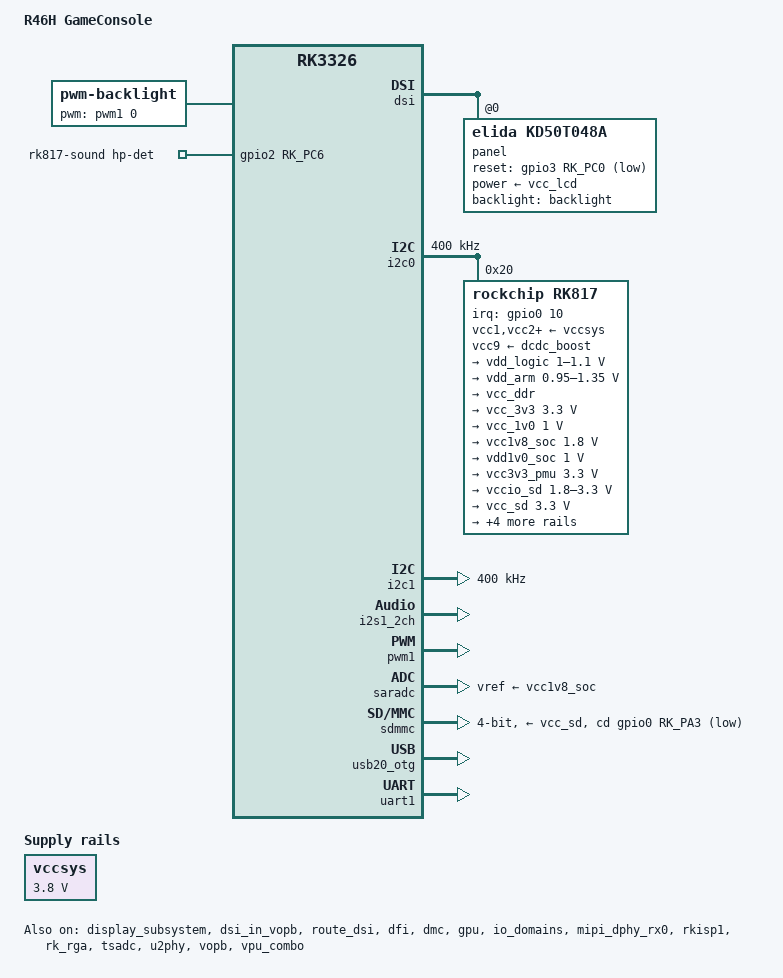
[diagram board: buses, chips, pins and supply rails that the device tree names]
/*
 * (C) Copyright 2019 Hardkernel Co., Ltd
 *
 * SPDX-License-Identifier:     GPL-2.0+
 */

/dts-v1/;
#include <dt-bindings/display/drm_mipi_dsi.h>
#include <dt-bindings/gpio/gpio.h>
#include <dt-bindings/input/input.h>
#include <dt-bindings/pinctrl/rockchip.h>
#include "px30.dtsi"
#include "rk3326.dtsi"
#include "rk3326-linux.dtsi"

/ {
	model = "R46H GameConsole";
	compatible = "rockchip,rk3326-r46h-linux", "rockchip,rk3326";

	chosen {
                bootargs = "";
	};

	fiq-debugger {
		compatible = "rockchip,fiq-debugger";
		rockchip,serial-id = <2>;
		rockchip,wake-irq = <0>;
		/* If enable uart uses irq instead of fiq */
		rockchip,irq-mode-enable = <0>;
		rockchip,baudrate = <115200>;  /* Only 115200 and 1500000 */
		interrupts = <GIC_SPI 127 IRQ_TYPE_LEVEL_LOW>;
		pinctrl-names = "default";
		pinctrl-0 = <&uart2m1_xfer>;
		status = "okay";
	};

	//leds: gpio_leds {
	//	compatible = "gpio-leds";
	//	status = "okay";
	//
	//	/* Blue LED : GPIO0_C1 */
	//	heartbeat {
	//		label = "blue:heartbeat";
	//		gpios = <&gpio0 RK_PC1 GPIO_ACTIVE_HIGH>;
	//		default-state = "off";
	//	};
	//
	//	battery {
	//		label = "battery_low";
	//		gpios = <&gpio2 RK_PB5 GPIO_ACTIVE_LOW>;
	//		default-state = "on";
	//	};
	//};

	backlight: backlight {
		compatible = "pwm-backlight";
		pwms = <&pwm1 0 40000 0>;
		brightness-levels = <
			  0   1   2   3   4   5   6   7
			  8   9  10  11  12  13  14  15
			 16  17  18  19  20  21  22  23
			 24  25  26  27  28  29  30  31
			 32  33  34  35  36  37  38  39
			 40  41  42  43  44  45  46  47
			 48  49  50  51  52  53  54  55
			 56  57  58  59  60  61  62  63
			 64  65  66  67  68  69  70  71
			 72  73  74  75  76  77  78  79
			 80  81  82  83  84  85  86  87
			 88  89  90  91  92  93  94  95
			 96  97  98  99 100>;
		default-brightness-level = <50>;
	};

	rk817-sound {
		compatible = "simple-audio-card";
		simple-audio-card,format = "i2s";
		simple-audio-card,name = "rockchip,rk817-codec";
		simple-audio-card,mclk-fs = <256>;
		simple-audio-card,widgets =
			"Microphone", "Mic Jack",
			"Headphone", "Headphone Jack";
		simple-audio-card,routing =
			"MIC_IN", "Mic Jack",
			/*"IN1P", "Mic Jack",*/
			"Headphone Jack", "HPOL",
			"Headphone Jack", "HPOR";
		simple-audio-card,hp-det-gpio = <&gpio2 RK_PC6 GPIO_ACTIVE_HIGH>;
		simple-audio-card,codec-hp-det = <1>;
		simple-audio-card,cpu {
			sound-dai = <&i2s1_2ch>;
		};
		simple-audio-card,codec {
			sound-dai = <&rk817_codec>;
		};
	};

	vccsys: vccsys {
		compatible = "regulator-fixed";
		regulator-name = "vcc3v8_sys";
		regulator-always-on;
		regulator-min-microvolt = <3800000>;
		regulator-max-microvolt = <3800000>;
	};

	charge-animation {
		compatible = "rockchip,uboot-charge";
		status = "okay";

		rockchip,uboot-charge-on = <1>;
		rockchip,android-charge-on = <0>;
		rockchip,uboot-exit-charge-level = <0>;
		rockchip,uboot-exit-charge-voltage = <3090>;
		rockchip,screen-on-voltage = <3045>;
		rockchip,uboot-low-power-voltage = <3055>;
		/* turn off screen only, no suspend */
		rockchip,system-suspend = <0>;
		/* auto screen-off in 10 seconds */
		rockchip,auto-off-screen-interval = <10>;
		/* no auto wake-up */
		rockchip,auto-wakeup-interval = <0>;
		rockchip,auto-wakeup-screen-invert = <1>;
	};
};


&bus_apll {
	bus-supply = <&vdd_logic>;
	status = "okay";
};

&cpu0 {
	cpu-supply = <&vdd_arm>;
};

&cpu0_opp_table {
	rockchip,avs = <1>;

	/* bin scaling clock 1.296MHz */
	rockchip,bin-scaling-sel = <
		0               13
		1               13
	>;

	/delete-node/ opp-1416000000;
};

&display_subsystem {
	status = "okay";
};

&dsi {
	status = "okay";

	panel@0 {
		compatible = "elida,kd50t048a", "simple-panel-dsi";
		reg = <0>;

		/* pwm1 backlight */
		backlight = <&backlight>;

		/* RK817 LDO8 */
		power-supply = <&vcc_lcd>;

		/* Rev 0.2 LCD reset gpio GPIO3.C0 */
		reset-gpios = <&gpio3 RK_PC0 GPIO_ACTIVE_LOW>;

		prepare-delay-ms = <20>;
		reset-delay-ms = <150>;
		init-delay-ms = <20>;
		enable-delay-ms = <50>;
		disable-delay-ms = <50>;
		unprepare-delay-ms = <20>;

		/* LCD size */
		width-mm = <52>;
		height-mm = <70>;

		dsi,flags = <(MIPI_DSI_MODE_VIDEO           |
			      MIPI_DSI_MODE_VIDEO_BURST     |
			      MIPI_DSI_MODE_LPM             |
			      MIPI_DSI_MODE_EOT_PACKET)>;

		dsi,format = <MIPI_DSI_FMT_RGB888>;
		dsi,lanes = <4>;
		/*
			- panel-init-sequence data description -
			  mipi_cmd, delay(ms), len, lcd_cmd, lcd_data...

			- mipi_cmd description -
			  05 : MIPI_DSI_SHORT_WRITE
			  15 : MIPI_DSI_SHORT_WRITE_PARAM
			  39 : MIPI_DSI_LONG_WRITE
		*/
		panel-init-sequence = [
			15 00 02 ee 01
			15 00 02 ea 07
			15 00 02 eb 12
			15 00 02 0a 8b
			15 00 02 17 35
			15 00 02 1d 33
			15 00 02 21 01
			15 00 02 28 1c
			15 00 02 29 27
			15 00 02 2a 63
			15 00 02 2b b5
			15 00 02 2c 00
			15 00 02 2d 33
			15 00 02 2f f3
			15 00 02 ee 02
			15 00 02 39 78
			15 00 02 39 78
			15 00 02 00 00
			15 00 02 01 18
			15 00 02 02 15
			15 00 02 03 10
			15 00 02 04 18
			15 00 02 05 3f
			15 00 02 06 11
			15 00 02 07 11
			15 00 02 08 11
			15 00 02 09 0f
			15 00 02 0a 10
			15 00 02 0b 54
			15 00 02 0c 14
			15 00 02 0d 17
			15 00 02 0e 35
			15 00 02 0f 37
			15 00 02 10 3f
			15 00 02 20 00
			15 00 02 21 18
			15 00 02 22 15
			15 00 02 23 10
			15 00 02 24 12
			15 00 02 25 37
			15 00 02 26 0b
			15 00 02 27 0d
			15 00 02 28 0d
			15 00 02 29 0b
			15 00 02 2a 10
			15 00 02 2b 54
			15 00 02 2c 14
			15 00 02 2d 17
			15 00 02 2e 35
			15 00 02 2f 37
			15 00 02 30 3f
			15 00 02 ee 04
			15 00 02 00 04
			15 00 02 01 01
			15 00 02 02 80
			15 00 02 03 04
			15 00 02 04 00
			15 00 02 06 16
			15 00 02 07 03
			15 00 02 08 13
			15 00 02 09 0a
			15 00 02 0a 0f
			15 00 02 0b 10
			15 00 02 22 80
			15 00 02 24 08
			15 00 02 2a 00
			15 00 02 ee 05
			15 00 02 00 04
			15 00 02 01 08
			15 00 02 02 55
			15 00 02 03 05
			15 00 02 04 00
			15 00 02 05 04
			15 00 02 06 00
			15 00 02 07 13
			15 00 02 08 1e
			15 00 02 09 66
			15 00 02 0d 22
			15 00 02 10 08
			15 00 02 11 0c
			15 00 02 12 55
			15 00 02 13 05
			15 00 02 19 14
			15 00 02 1a 76
			15 00 02 23 00
			15 00 02 43 13
			15 00 02 40 44
			15 00 02 41 00
			15 00 02 30 01
			15 00 02 31 01
			15 00 02 32 00
			15 00 02 33 14
			15 00 02 34 14
			15 00 02 35 b4
			15 00 02 36 01
			15 00 02 37 01
			15 00 02 38 00
			15 00 02 39 14
			15 00 02 3a 14
			15 00 02 44 01
			15 00 02 45 81
			15 00 02 46 05
			15 00 02 ee 06
			15 00 02 00 23
			15 00 02 01 01
			15 00 02 02 04
			15 00 02 06 cd
			15 00 02 08 67
			15 00 02 09 45
			15 00 02 0a 23
			15 00 02 0b 01
			15 00 02 ee 07
			15 00 02 00 3c
			15 00 02 01 20
			15 00 02 02 20
			15 00 02 03 21
			15 00 02 04 21
			15 00 02 05 3c
			15 00 02 06 3c
			15 00 02 07 04
			15 00 02 08 04
			15 00 02 09 0c
			15 00 02 0a 0c
			15 00 02 0b 01
			15 00 02 0c 15
			15 00 02 0d 15
			15 00 02 0e 17
			15 00 02 0f 17
			15 00 02 10 11
			15 00 02 11 11
			15 00 02 12 13
			15 00 02 13 13
			15 00 02 14 0d
			15 00 02 15 0d
			15 00 02 20 3c
			15 00 02 21 20
			15 00 02 22 20
			15 00 02 23 21
			15 00 02 24 21
			15 00 02 25 3c
			15 00 02 26 3c
			15 00 02 27 04
			15 00 02 28 04
			15 00 02 29 0c
			15 00 02 2a 0c
			15 00 02 2b 00
			15 00 02 2c 14
			15 00 02 2d 14
			15 00 02 2e 16
			15 00 02 2f 16
			15 00 02 30 10
			15 00 02 31 10
			15 00 02 32 12
			15 00 02 33 12
			15 00 02 34 0d
			15 00 02 35 0d
			15 00 02 ee 08
			15 00 02 10 00
			15 00 02 12 da
			15 00 02 14 10
			15 00 02 22 69
			15 00 02 ee 0f
			15 00 02 00 01
			15 00 02 01 10
			15 00 02 ee 00
			15 00 02 ea 00
			15 00 02 eb 00
			05 c8 01 11
			05 14 01 29
			];


		/* 28: DisplayOff */
		/* 10: SleepIn */
		panel-exit-sequence = [
			05 14 01 28
			05 0A 01 10
		];

		display-timings {
			native-mode = <&timing0>;
			timing0: timing0 {
				clock-frequency = <60000000>;
				hactive = <1024>;
				vactive = <768>;
				hfront-porch = <80>;
				hsync-len = <60>;
				hback-porch = <60>;
				vfront-porch = <16>;
				vsync-len = <8>;
				vback-porch = <8>;
				hsync-active = <0>;
				vsync-active = <0>;
				de-active = <0>;
				pixelclk-active = <0>;
			};
		};
	};
};

&dsi_in_vopb {
	status = "okay";
};

&route_dsi {
	connect = <&vopb_out_dsi>;
	status = "okay";
};

&dfi {
	status = "okay";
};

&dmc {
	center-supply = <&vdd_logic>;
	status = "okay";
};

&emmc {
	status = "disabled";
};


&sfc {
	status = "disabled";
};

&gpu {
	mali-supply = <&vdd_logic>;
	status = "okay";
};

&i2c0 {
	status = "okay";
	clock-frequency = <400000>;
	i2c-scl-rising-time-ns = <280>;
	i2c-scl-falling-time-ns = <16>;

	rk817: pmic@20 {
		compatible = "rockchip,rk817";
		reg = <0x20>;
		interrupt-parent = <&gpio0>;
		interrupts = <10 IRQ_TYPE_LEVEL_LOW>;
		pinctrl-names = "default", "pmic-sleep",
				"pmic-power-off", "pmic-reset";
		pinctrl-0 = <&pmic_int>;
		pinctrl-1 = <&soc_slppin_slp>, <&rk817_slppin_slp>;
		pinctrl-2 = <&soc_slppin_gpio>, <&rk817_slppin_pwrdn>;
		pinctrl-3 = <&soc_slppin_rst>, <&rk817_slppin_rst>;
		rockchip,system-power-controller;
		wakeup-source;
		#clock-cells = <1>;
		clock-output-names = "rk808-clkout1", "rk808-clkout2";
		//fb-inner-reg-idxs = <2>;

		/* 1: rst regs (default in codes), 0: rst the pmic */
		pmic-reset-func = <1>;

		vcc1-supply = <&vccsys>;
		vcc2-supply = <&vccsys>;
		vcc3-supply = <&vccsys>;
		vcc4-supply = <&vccsys>;
		vcc5-supply = <&vccsys>;
		vcc6-supply = <&vccsys>;
		vcc7-supply = <&vccsys>;
		vcc8-supply = <&vccsys>;
		vcc9-supply = <&dcdc_boost>;

		pwrkey {
			status = "okay";
		};

		pinctrl_rk8xx: pinctrl_rk8xx {
			gpio-controller;
			#gpio-cells = <2>;

			rk817_ts_gpio1: rk817_ts_gpio1 {
				pins = "gpio_ts";
				function = "pin_fun1";
				/* output-low; */
				/* input-enable; */
			};

			rk817_gt_gpio2: rk817_gt_gpio2 {
				pins = "gpio_gt";
				function = "pin_fun1";
			};

			rk817_pin_ts: rk817_pin_ts {
				pins = "gpio_ts";
				function = "pin_fun0";
			};

			rk817_pin_gt: rk817_pin_gt {
				pins = "gpio_gt";
				function = "pin_fun0";
			};

			rk817_slppin_null: rk817_slppin_null {
				pins = "gpio_slp";
				function = "pin_fun0";
			};

			rk817_slppin_slp: rk817_slppin_slp {
				pins = "gpio_slp";
				function = "pin_fun1";
			};

			rk817_slppin_pwrdn: rk817_slppin_pwrdn {
				pins = "gpio_slp";
				function = "pin_fun2";
			};

			rk817_slppin_rst: rk817_slppin_rst {
				pins = "gpio_slp";
				function = "pin_fun3";
			};
		};

		regulators {
			vdd_logic: DCDC_REG1 {
				regulator-always-on;
				regulator-boot-on;
				regulator-min-microvolt = <1000000>;
				regulator-max-microvolt = <1100000>;
				regulator-ramp-delay = <6001>;
				regulator-initial-mode = <0x2>;
				regulator-name = "vdd_logic";
				regulator-state-mem {
					regulator-on-in-suspend;
					regulator-suspend-microvolt = <950000>;
				};
			};

			vdd_arm: DCDC_REG2 {
				regulator-always-on;
				regulator-boot-on;
				regulator-min-microvolt = <950000>;
				regulator-max-microvolt = <1350000>;
				regulator-ramp-delay = <6001>;
				regulator-initial-mode = <0x2>;
				regulator-name = "vdd_arm";
				regulator-state-mem {
					regulator-off-in-suspend;
					regulator-suspend-microvolt = <950000>;
				};
			};

			vcc_ddr: DCDC_REG3 {
				regulator-always-on;
				regulator-boot-on;
				regulator-initial-mode = <0x2>;
				regulator-name = "vcc_ddr";
				regulator-state-mem {
					regulator-on-in-suspend;
				};
			};

			vcc_3v3: DCDC_REG4 {
				regulator-always-on;
				regulator-boot-on;
				regulator-min-microvolt = <3300000>;
				regulator-max-microvolt = <3300000>;
				regulator-initial-mode = <0x2>;
				regulator-name = "vcc_3v3";
				regulator-state-mem {
					regulator-off-in-suspend;
					regulator-suspend-microvolt = <3300000>;
				};
			};

			/* Not Used */
			vcc_1v0: LDO_REG1 {
				regulator-min-microvolt = <1000000>;
				regulator-max-microvolt = <1000000>;
				regulator-name = "vcc_1v0";
				regulator-state-mem {
					regulator-off-in-suspend;
					regulator-suspend-microvolt = <1000000>;
				};
			};

			vcc1v8_soc: LDO_REG2 {
				regulator-always-on;
				regulator-boot-on;
				regulator-min-microvolt = <1800000>;
				regulator-max-microvolt = <1800000>;

				regulator-name = "vcc1v8_soc";
				regulator-state-mem {
					regulator-on-in-suspend;
					regulator-suspend-microvolt = <1800000>;
				};
			};

			vdd1v0_soc: LDO_REG3 {
				regulator-always-on;
				regulator-boot-on;
				regulator-min-microvolt = <1000000>;
				regulator-max-microvolt = <1000000>;

				regulator-name = "vcc1v0_soc";
				regulator-state-mem {
					regulator-on-in-suspend;
					regulator-suspend-microvolt = <1000000>;
				};
			};

			vcc3v3_pmu: LDO_REG4 {
				regulator-always-on;
				regulator-boot-on;
				regulator-min-microvolt = <3300000>;
				regulator-max-microvolt = <3300000>;

				regulator-name = "vcc3v3_pmu";
				regulator-state-mem {
					regulator-on-in-suspend;
					regulator-suspend-microvolt = <3300000>;

				};
			};

			vccio_sd: LDO_REG5 {
				regulator-always-on;
				regulator-boot-on;
				regulator-min-microvolt = <1800000>;
				regulator-max-microvolt = <3300000>;

				regulator-name = "vccio_sd";
				regulator-state-mem {
					regulator-on-in-suspend;
					regulator-suspend-microvolt = <3300000>;
				};
			};

			vcc_sd: LDO_REG6 {
				regulator-min-microvolt = <3300000>;
				regulator-max-microvolt = <3300000>;
				regulator-boot-on;

				regulator-name = "vcc_sd";
				regulator-state-mem {
					regulator-on-in-suspend;
					regulator-suspend-microvolt = <3300000>;

				};
			};

			/* Rev 0.2 LCD Backlight Power */
			vcc_backlight: LDO_REG7 {
				regulator-min-microvolt = <3300000>;
				regulator-max-microvolt = <3300000>;
				regulator-name = "vcc_backlight";
				regulator-state-mem {
					regulator-off-in-suspend;
					regulator-suspend-microvolt = <3300000>;
				};
			};

			/* Rev 0.2 LCD IO Power */
			vcc_lcd: LDO_REG8 {
				regulator-min-microvolt = <2800000>;
				regulator-max-microvolt = <2800000>;
				regulator-name = "vcc_lcd";
				regulator-state-mem {
					regulator-off-in-suspend;
					regulator-suspend-microvolt = <2800000>;
				};
			};



			dcdc_boost: BOOST {
				regulator-always-on;
				regulator-boot-on;
				regulator-min-microvolt = <5000000>;
				regulator-max-microvolt = <5400000>;
				regulator-name = "boost";
			};

			otg_switch: OTG_SWITCH {
				regulator-boot-on;
				regulator-name = "otg_switch";
			};
		};

		battery {
			compatible = "rk817_fg";
			ocv_table = <3165 3220 3280 3330 3380 3430 3480
			3530 3580 3630 3670 3710 3750 3790
			3830 3870 3910 3950 3990 3995 4000>;


			/* KPL605475 Battery Spec */
			/*
				Capacity : 3.7V 3000mA
				Normal Voltage = 3.7V
				Cut-Off Voltage : 3.1V
				Internal Impedance : 180 mOhm
				Charging Voltage : 4.2V
				Charging Voltage Max : 4.25V
				Sample resister : 10 mohm
			*/
			design_capacity = <3500>;
			design_qmax = <4020>;
			bat_res = <100>;
			sleep_enter_current = <300>;
			sleep_exit_current = <300>;
			sleep_filter_current = <100>;
			power_off_thresd = <3000>;
			zero_algorithm_vol = <3850>;
			max_soc_offset = <60>;
			monitor_sec = <5>;
			virtual_power = <0>;
			sample_res = <10>;
			power_dc2otg = <0>;
		};

		charger {
			compatible = "rk817,charger";
			min_input_voltage = <4500>;
			max_input_current = <1500>;
			max_chrg_current = <2000>;
			max_chrg_voltage = <4200>;
			chrg_term_mode = <0>;
			chrg_finish_cur = <300>;
			virtual_power = <0>;
			sample_res = <10>;

			/* P.C.B rev0.2 DC Detect & Charger Status LED GPIO */
			dc_det_gpio  = <&gpio0 RK_PB3 GPIO_ACTIVE_HIGH>;

			extcon = <&u2phy>;
		};

		rk817_codec: codec {
			#sound-dai-cells = <0>;
			compatible = "rockchip,rk817-codec";
			clocks = <&cru SCLK_I2S1_OUT>;
			clock-names = "mclk";
			pinctrl-names = "default";
			pinctrl-0 = <&i2s1_2ch_mclk>;
			hp-volume = <20>;
			spk-volume = <3>;
			status = "okay";
		};
	};
};

/* EXT Header(P2) : 7(SCL:GPIO0.C2), 8(SDA:GPIO0.C3) */
&i2c1 {
	status = "okay";
	clock-frequency = <400000>;
};

/* MIPI CSI I2C */
&i2c2 {
	status = "disabled";
};

/* I2S 1 Channel Used */
&i2s1_2ch {
	status = "okay";
	#sound-dai-cells = <0>;
};

&io_domains {
	/* GRF Register Voltage select control */
	status = "okay";

	/* SDIO I/O Voltage */
	vccio1-supply = <&vccio_sd>;
	/* SDMMC I/O Voltage */
	vccio2-supply = <&vccio_sd>;
	/* CAM I/O Voltage */
	vccio3-supply = <&vcc_3v3>;
	/* LVDS/LCDC I/O Voltage */
	vccio4-supply = <&vcc_3v3>;
	/* I2S I/O Voltage */
	vccio5-supply = <&vcc_3v3>;
	/* eMMC I/O Voltage */
	vccio6-supply = <&vcc_3v3>;
};

&isp_mmu {
	status = "okay";
};

&mipi_dphy_rx0 {
	status = "okay";
};

&rkisp1 {
	status = "okay";
};

&spi0 {
	status = "disabled";
};

&pmu_io_domains {
	/* PMU GRF Register Voltage select control */
	status = "okay";

	/* PMU I/O Voltage */
	pmuio1-supply = <&vcc3v3_pmu>;
	/* GPIO0_B/GPIO0_C, Flash */
	pmuio2-supply = <&vcc3v3_pmu>;
};

/* LCD Backlight PWM */
&pwm1 {
	status = "okay";
};

&rk_rga {
	status = "okay";
};

&saradc {
	status = "okay";
	vref-supply = <&vcc1v8_soc>;
};

&sdmmc {
	bus-width = <4>;
	cap-mmc-highspeed;
	cap-sd-highspeed;
	supports-sd;
	card-detect-delay = <800>;
	ignore-pm-notify;
	cd-gpios = <&gpio0 RK_PA3 GPIO_ACTIVE_LOW>; /*[> CD GPIO <]*/
	sd-uhs-sdr12;
	sd-uhs-sdr25;
	sd-uhs-sdr50;
	sd-uhs-sdr104;
	vqmmc-supply = <&vccio_sd>;
	vmmc-supply = <&vcc_sd>;
	status = "okay";
};

&sdio {
	status = "disabled";
};

&tsadc {
	pinctrl-names = "gpio", "otpout";
	pinctrl-0 = <&tsadc_otp_gpio>;
	pinctrl-1 = <&tsadc_otp_out>;
	status = "okay";
};

&u2phy {
	status = "okay";

	u2phy_host: host-port {
		status = "okay";
	};

	u2phy_otg: otg-port {
		status = "disabled";
	};
};

&usb20_otg {
	status = "okay";
};

/*
	EXT Header(P2) UART :
	2(RXD:GPIO1.C0),3(TXD:GPIO1.C1),4(CTS:GPIO1.C2),5(RTS:GPIO1.C3)
*/
&uart1 {
	pinctrl-names = "default";
	pinctrl-0 = <&uart1_xfer &uart1_cts>;
	status = "okay";
};

&vip_mmu {
	status = "okay";
};

&vopb {
	status = "okay";
};

&vopb_mmu {
	status = "okay";
};

&vpu_combo {
	status = "okay";
};

&pinctrl {
	pmic {
		/* ODROID-GO2 : PMIC_INT(GPIO0.PB2) */
		pmic_int: pmic_int {
			rockchip,pins =
				<0 RK_PB2 RK_FUNC_GPIO &pcfg_pull_up>,
				<0 RK_PB3 RK_FUNC_GPIO &pcfg_pull_none>;
		};

		/* ODROID-GO2 : PMIC_SLEEP(GPIO0.PA4) */
		soc_slppin_gpio: soc_slppin_gpio {
			rockchip,pins =
				<0 RK_PA4 RK_FUNC_GPIO &pcfg_output_low>;
		};

		soc_slppin_slp: soc_slppin_slp {
			rockchip,pins =
				<0 RK_PA4 RK_FUNC_1 &pcfg_pull_none>;
		};

		soc_slppin_rst: soc_slppin_rst {
			rockchip,pins =
				<0 RK_PA4 RK_FUNC_2 &pcfg_pull_none>;
		};
	};

	//leds {
	//	led_pins: led-pins {
	//		rockchip,pins = <0 RK_PC1 RK_FUNC_GPIO &pcfg_pull_none>;
	//	};
	//};

	rumble {
		rumble_pins: rumble-pins {
			rockchip,pins = <0 RK_PB7 RK_FUNC_GPIO &pcfg_pull_none>;
		};
	};

	btns {
		btn_pins: btn-pins {
			rockchip,pins = <1 RK_PB4 RK_FUNC_GPIO &pcfg_pull_up>,
					<1 RK_PB5 RK_FUNC_GPIO &pcfg_pull_up>,
					<1 RK_PB6 RK_FUNC_GPIO &pcfg_pull_up>,
					<1 RK_PB7 RK_FUNC_GPIO &pcfg_pull_up>,
					<1 RK_PA2 RK_FUNC_GPIO &pcfg_pull_up>,
					<1 RK_PA5 RK_FUNC_GPIO &pcfg_pull_up>,
					<1 RK_PA6 RK_FUNC_GPIO &pcfg_pull_up>,
					<1 RK_PA7 RK_FUNC_GPIO &pcfg_pull_up>,

					<2 RK_PA0 RK_FUNC_GPIO &pcfg_pull_up>,
					<2 RK_PA1 RK_FUNC_GPIO &pcfg_pull_up>,
					<2 RK_PA2 RK_FUNC_GPIO &pcfg_pull_up>,
					<2 RK_PA3 RK_FUNC_GPIO &pcfg_pull_up>,
					<2 RK_PA4 RK_FUNC_GPIO &pcfg_pull_up>,
					<2 RK_PA5 RK_FUNC_GPIO &pcfg_pull_up>,
					<2 RK_PA6 RK_FUNC_GPIO &pcfg_pull_up>,
					<2 RK_PA7 RK_FUNC_GPIO &pcfg_pull_up>,
					<3 RK_PB2 RK_FUNC_GPIO &pcfg_pull_up>,
					<3 RK_PB7 RK_FUNC_GPIO &pcfg_pull_up>;
		};
	};
};
